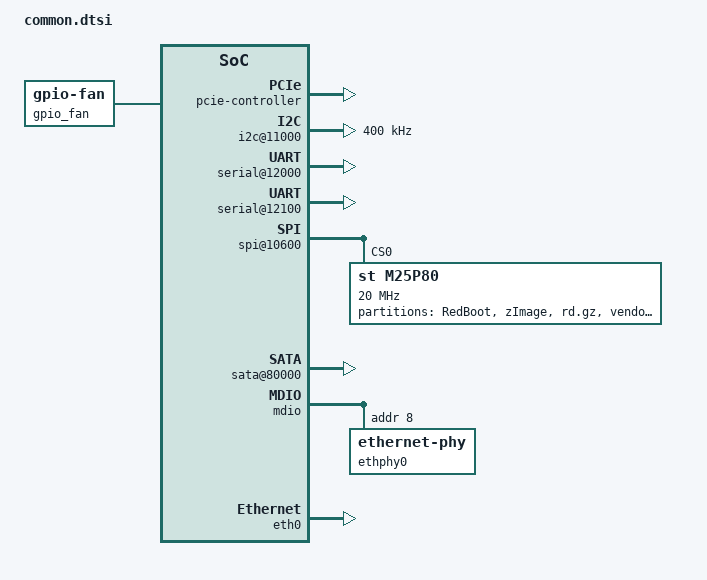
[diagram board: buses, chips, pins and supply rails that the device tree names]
/*
 * Nodes which are common to all Synology devices
 *
 * Andrew Lunn <andrew@lunn.ch>
 *
 * This file is licensed under the terms of the GNU General Public
 * License version 2.  This program is licensed "as is" without any
 * warranty of any kind, whether express or implied.
 */

#include <dt-bindings/gpio/gpio.h>

/ {
	mbus {
		pcie-controller {
			status = "okay";

			pcie@1,0 {
				status = "okay";
			};
		};
	};
	ocp@f1000000 {
		i2c@11000 {
			status = "okay";
			clock-frequency = <400000>;
			pinctrl-0 = <&pmx_twsi0>;
			pinctrl-names = "default";
		};
		serial@12000 {
			status = "okay";
			pinctrl-0 = <&pmx_uart0>;
			pinctrl-names = "default";
		};
		serial@12100 {
			status = "okay";
			pinctrl-0 = <&pmx_uart1>;
			pinctrl-names = "default";
		};
		poweroff@12100 {
			compatible = "synology,power-off";
			reg = <0x12000 0x100>;
			clocks = <&gate_clk 7>;
		};
		spi@10600 {
			status = "okay";
			pinctrl-0 = <&pmx_spi>;
			pinctrl-names = "default";

			m25p80@0 {
				#address-cells = <1>;
				#size-cells = <1>;
				compatible = "st,m25p80";
				reg = <0>;
				spi-max-frequency = <20000000>;
				mode = <0>;

				partition@00000000 {
					reg = <0x00000000 0x00080000>;
					label = "RedBoot";
				};

				partition@00080000 {
					reg = <0x00080000 0x00200000>;
					label = "zImage";
				};

				partition@00280000 {
					reg = <0x00280000 0x00140000>;
					label = "rd.gz";
				};
				partition@003c0000 {
					reg = <0x003c0000 0x00010000>;
					label = "vendor";
				};
				partition@003d0000 {
					reg = <0x003d0000 0x00020000>;
					label = "RedBoot config";
				};
				partition@003f0000 {
					reg = <0x003f0000 0x00010000>;
					label = "FIS directory";
				};
			};
		};
		sata@80000 {
			pinctrl-0 = <&pmx_sata0 &pmx_sata1>;
			pinctrl-names = "default";
			status = "okay";
			nr-ports = <2>;
		};
	};
	gpio_fan {
		compatible = "gpio-fan";
	};
};

&mdio {
	status = "okay";

	ethphy0: ethernet-phy {
		device_type = "ethernet-phy";
		reg = <8>;
	};
};

&eth0 {
	status = "okay";
	ethernet0-port@0 {
		phy-handle = <&ethphy0>;
	};
};
